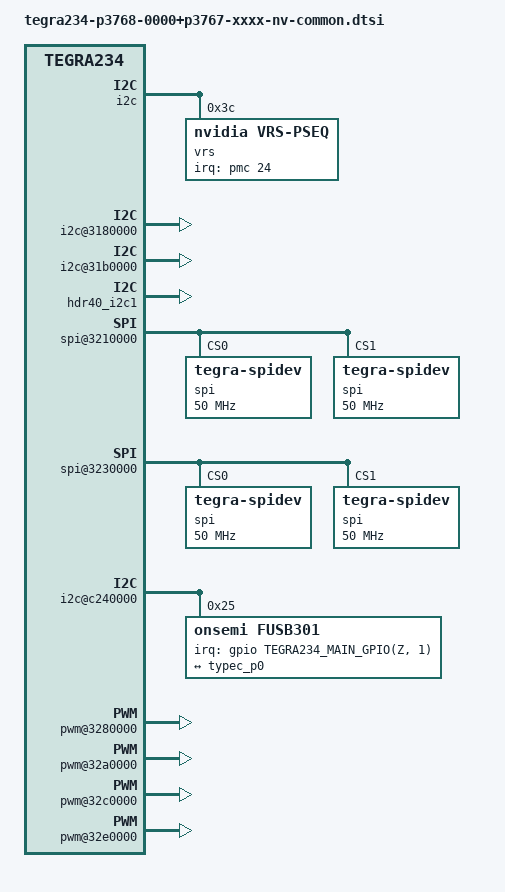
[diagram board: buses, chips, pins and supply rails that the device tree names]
// SPDX-License-Identifier: GPL-2.0-only
// SPDX-FileCopyrightText: Copyright (c) 2023-2025, NVIDIA CORPORATION & AFFILIATES.  All rights reserved.

#include "nv-soc/tegra234-overlay.dtsi"
#include "nv-soc/tegra234-soc-audio-dai-links.dtsi"
#include "tegra234-p3768-0000.dtsi"
#include "tegra234-p3767-0000.dtsi"
#include "nv-soc/tegra234-soc-camera.dtsi"
#include "tegra234-dcb-p3737-0000-p3701-0000.dtsi"
#include <dt-bindings/gpio/tegra234-gpio.h>

/ {
	aliases {
		serial1 = &uarta;
		serial2 = &uarte;
	};

	bpmp {
		i2c {
			vrs@3c {
				compatible = "nvidia,vrs-pseq";
				reg = <0x3c>;
				interrupt-parent = <&pmc>;
				/* VRS Wake ID is 24 */
				interrupts = <24 IRQ_TYPE_LEVEL_LOW>;
				interrupt-controller;
				#interrupt-cells = <2>;
				status = "okay";
			};
		};
	};

	bus@0 {
		actmon@d230000 {
			status = "okay";
		};

		pinmux@2430000 {
			status = "okay";
		};

		i2c@3180000 {
			status = "okay";
		};

		aconnect@2900000 {
			adsp@2993000 {
				status = "okay";
			};
		};

		i2c@31b0000 {
			status = "okay";
		};

		hdr40_i2c1: i2c@c250000 {
			status = "okay";
		};

		/* SPI1, 40pin header, Pin 19(MOSI), Pin 21(MISO), Pin 23(CLK), Pin 24(CS) */
		spi@3210000{
			status = "okay";
			spi@0 {
				compatible = "tegra-spidev";
				reg = <0x0>;
				spi-max-frequency = <50000000>;
				controller-data {
					nvidia,enable-hw-based-cs;
					nvidia,rx-clk-tap-delay = <0x10>;
					nvidia,tx-clk-tap-delay = <0x0>;
				};
			};
			spi@1 {
				compatible = "tegra-spidev";
				reg = <0x1>;
				spi-max-frequency = <50000000>;
				controller-data {
					nvidia,enable-hw-based-cs;
					nvidia,rx-clk-tap-delay = <0x10>;
					nvidia,tx-clk-tap-delay = <0x0>;
				};
			};

		};

		/* SPI3, 40pin header, Pin 37(MOSI), Pin 22(MISO), Pin 13(CLK), Pin 18(CS) */
		spi@3230000{
			status = "okay";
			spi@0 {
				compatible = "tegra-spidev";
				reg = <0x0>;
				spi-max-frequency = <50000000>;
				controller-data {
					nvidia,enable-hw-based-cs;
					nvidia,rx-clk-tap-delay = <0x10>;
					nvidia,tx-clk-tap-delay = <0x0>;
				};
			};
			spi@1 {
				compatible = "tegra-spidev";
				reg = <0x1>;
				spi-max-frequency = <50000000>;
				controller-data {
					nvidia,enable-hw-based-cs;
					nvidia,rx-clk-tap-delay = <0x10>;
					nvidia,tx-clk-tap-delay = <0x0>;
				};
			};
		};

		padctl@3520000 {
			ports {
				usb2-0 {
					port {
						typec_p0: endpoint {
							remote-endpoint = <&fusb_p0>;
						};
					};
				};
			};
		};

		i2c@c240000 {
			status = "okay";
			fusb301@25 {
				compatible = "onsemi,fusb301";
				reg = <0x25>;
				status = "okay";
				#address-cells = <1>;
				#size-cells = <0>;
				interrupt-parent = <&gpio>;
				interrupts = <TEGRA234_MAIN_GPIO(Z, 1) IRQ_TYPE_LEVEL_LOW>;
				connector@0 {
					port@0 {
						fusb_p0: endpoint {
							remote-endpoint = <&typec_p0>;
						};
					};
				};
			};
		};

		/* PWM1, 40pin header, pin 15 */
		pwm@3280000 {
			status = "okay";
		};

		/* PWM3, FAN */
		pwm@32a0000 {
			status = "okay";
		};

		/* PWM5, 40pin header, pin 33 */
		pwm@32c0000 {
			status = "okay";
		};

		/* PWM7, 40pin header, pin 32 */
		pwm@32e0000 {
			status = "okay";
		};

		tachometer@39c0000 {
			status = "okay";
			upper-threshold = <0xfffff>;
			lower-threshold = <0x0>;
		};

		hsp@3d00000 {
			status = "okay";
		};

		aon@c000000 {
			status = "okay";
		};

		hardware-timestamp@c1e0000 {
			status = "okay";
		};

		mttcan@c310000 {
			status = "okay";
		};

		hwpm@f100000 {
			status = "okay";
		};

		mc-hwpm@2c10000 {
			status = "okay";
		};

		host1x@13e00000 {
			nvdec@15480000 {
				status = "okay";
			};

			nvenc@154c0000 {
				status = "okay";
			};

			crypto@15820000 {
				status = "okay";
			};

			crypto@15840000 {
				status = "okay";
			};

			nvdla0@15880000 {
				status = "okay";
			};

			nvdla1@158c0000 {
				status = "okay";
			};

			ofa@15a50000 {
				status = "okay";
			};

			pva0@16000000 {
				status = "okay";

				pva0_niso1_ctx0 {
					status = "okay";
				};

				pva0_niso1_ctx1 {
					status = "okay";
				};

				pva0_niso1_ctx2 {
					status = "okay";
				};

				pva0_niso1_ctx3 {
					status = "okay";
				};

				pva0_niso1_ctx4 {
					status = "okay";
				};

				pva0_niso1_ctx5 {
					status = "okay";
				};

				pva0_niso1_ctx6 {
					status = "okay";
				};

				pva0_niso1_ctx7 {
					status = "okay";
				};
			};

			nvjpg@15380000 {
				status = "okay";
			};

			nvjpg@15540000 {
				status = "okay";
			};
		};
	};

	cpus {
		idle-states {
			c7 {
				status = "okay";
			};
		};
	};

	nvpmodel {
		status = "okay";
	};

	soctherm-oc-event {
		status = "okay";
	};

	tegra-hsp@b950000 {
		status = "okay";
	};

	dce@d800000 {
		status = "okay";
	};

	display@13800000 {
		os_gpio_hotplug_a = <&gpio TEGRA234_MAIN_GPIO(M, 0) GPIO_ACTIVE_HIGH>;
		status = "okay";
	};
};
